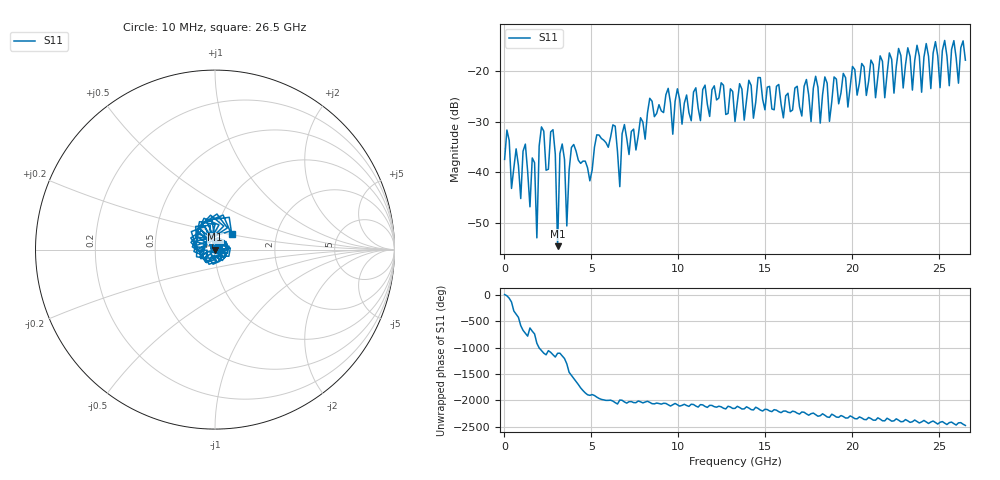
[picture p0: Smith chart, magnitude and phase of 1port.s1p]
!Keysight Technologies,N5222A,MY51421047,A.10.65.16
!Date: Friday, September 25, 2026 12:51:08
!Correction: S11(Full 2 Port(1,2))
!S1P File: Measurement: S11:
# Hz S  RI  R 50
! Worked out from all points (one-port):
!   201 points, 10 MHz to 26.5 GHz, reference 50 ohm
!   lowest |S11| = -54.5 dB at 3.056 GHz (marker M1), VSWR 1.00, Z = 50.2 - j0.0919 ohm
!   |S11| at or under -10 dB: start of sweep to end of sweep
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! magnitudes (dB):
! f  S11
! 10 MHz  -37.5
! 937.1 MHz  -45.2
! 1.202 GHz  -34.4
! 1.467 GHz  -46.8
! 1.732 GHz  -38.1
! 1.864 GHz  -52.9
! 2.129 GHz  -31.1
! 2.394 GHz  -39.6
! 2.791 GHz  -31.6
! 3.056 GHz  -54.5
! 3.189 GHz  -36.3
! 3.321 GHz  -34.4
! 3.586 GHz  -50.6
! 3.983 GHz  -34.5
! 4.911 GHz  -41.7
! 6.368 GHz  -30.9
! 6.633 GHz  -42.8
! 6.897 GHz  -30.6
! 9.414 GHz  -23.5
! 9.679 GHz  -32.5
! 9.944 GHz  -23.6
! 13.26 GHz  -30.0
! 16.57 GHz  -27.7
! 19.88 GHz  -23.2
! 23.19 GHz  -15.5
! 23.98 GHz  -24.2
! 24.25 GHz  -14.7
! 26.5 GHz  -17.9
